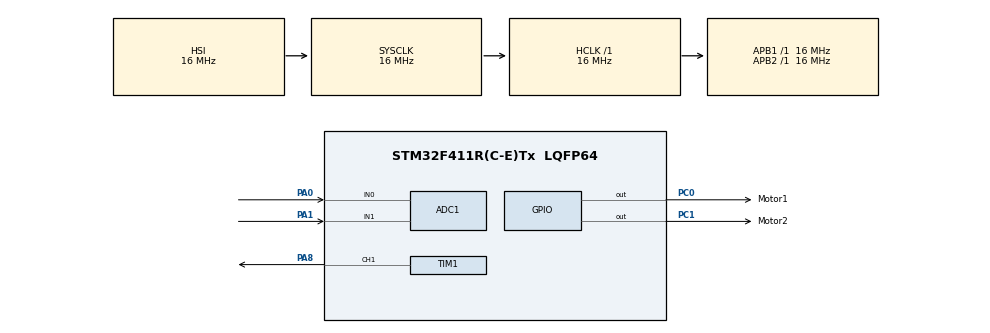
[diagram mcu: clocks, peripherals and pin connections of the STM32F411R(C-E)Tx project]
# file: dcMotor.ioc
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ADC1.Channel-0\#ChannelRegularConversion=ADC_CHANNEL_0
ADC1.Channel-1\#ChannelRegularConversion=ADC_CHANNEL_1
ADC1.ContinuousConvMode=ENABLE
ADC1.DMAContinuousRequests=ENABLE
ADC1.NbrOfConversion=2
ADC1.NbrOfConversionFlag=1
ADC1.Rank-0\#ChannelRegularConversion=1
ADC1.Rank-1\#ChannelRegularConversion=2
ADC1.SamplingTime-0\#ChannelRegularConversion=ADC_SAMPLETIME_480CYCLES
ADC1.SamplingTime-1\#ChannelRegularConversion=ADC_SAMPLETIME_480CYCLES
ADC1.master=1
Dma.ADC1.0.Direction=DMA_PERIPH_TO_MEMORY
Dma.ADC1.0.FIFOMode=DMA_FIFOMODE_DISABLE
Dma.ADC1.0.Instance=DMA2_Stream0
Dma.ADC1.0.MemDataAlignment=DMA_MDATAALIGN_HALFWORD
Dma.ADC1.0.MemInc=DMA_MINC_ENABLE
Dma.ADC1.0.Mode=DMA_CIRCULAR
Dma.ADC1.0.PeriphDataAlignment=DMA_PDATAALIGN_HALFWORD
Dma.ADC1.0.PeriphInc=DMA_PINC_DISABLE
Dma.ADC1.0.Priority=DMA_PRIORITY_LOW
Dma.Request0=ADC1
Mcu.Family=STM32F4
Mcu.Name=STM32F411R(C-E)Tx
Mcu.Package=LQFP64
NVIC.DMA2_Stream0_IRQn=true\:0\:0\:false\:false\:true\:false\:true\:true
NVIC.PriorityGroup=NVIC_PRIORITYGROUP_4
PA0-WKUP.Signal=ADCx_IN0
PA1.Signal=ADCx_IN1
PA8.Signal=S_TIM1_CH1
PC0.GPIO_Label=Motor1
PC0.Signal=GPIO_Output
PC1.GPIO_Label=Motor2
PC1.Signal=GPIO_Output
ProjectManager.HeapSize=0x200
ProjectManager.StackSize=0x400
ProjectManager.TargetToolchain=STM32CubeIDE
RCC.AHBFreq_Value=16000000
RCC.APB1Freq_Value=16000000
RCC.APB2Freq_Value=16000000
RCC.CortexFreq_Value=16000000
RCC.HSE_VALUE=25000000
RCC.HSI_VALUE=16000000
RCC.LSE_VALUE=32768
RCC.SYSCLKFreq_VALUE=16000000
RCC.VCOOutputFreq_Value=192000000
SH.ADCx_IN0.0=ADC1_IN0,IN0
SH.ADCx_IN1.0=ADC1_IN1,IN1
SH.S_TIM1_CH1.0=TIM1_CH1,PWM Generation1 CH1
TIM1.Channel-PWM\ Generation1\ CH1=TIM_CHANNEL_1
TIM1.Period=1000-1
TIM1.Prescaler=16-1
TIM1.Pulse-PWM\ Generation1\ CH1=500-1
VP_TIM1_VS_ClockSourceINT.Mode=Internal
board=custom

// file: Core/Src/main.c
/* USER CODE BEGIN Header */
/**
  ******************************************************************************
  * @file           : main.c
  * @brief          : Main program body
  ******************************************************************************
  * @attention
  *
  * Copyright (c) 2023 STMicroelectronics.
  * All rights reserved.
  *
  * This software is licensed under terms that can be found in the LICENSE file
  * in the root directory of this software component.
  * If no LICENSE file comes with this software, it is provided AS-IS.
  *
  ******************************************************************************
  */
/* USER CODE END Header */
#include "main.h"

ADC_HandleTypeDef hadc1;
DMA_HandleTypeDef hdma_adc1;

TIM_HandleTypeDef htim1;

void SystemClock_Config(void);
static void MX_GPIO_Init(void);
static void MX_DMA_Init(void);
static void MX_ADC1_Init(void);
static void MX_TIM1_Init(void);

/* USER CODE BEGIN 0 */
void setPwm(int value){
	htim1.Instance->CCR1 = value;
}

void setMotorStop(){
	HAL_GPIO_WritePin(Motor1_GPIO_Port, Motor1_Pin, 0);
	HAL_GPIO_WritePin(Motor2_GPIO_Port, Motor2_Pin, 0);//둘다 0�?�니까 모터는 정지�?태
	setPwm(0);
}

void setMotorStart(int dir, int pwm){
	if(dir){
		HAL_GPIO_WritePin(Motor1_GPIO_Port, Motor1_Pin, 1);
		HAL_GPIO_WritePin(Motor2_GPIO_Port, Motor2_Pin, 0);
	}
	else {
		HAL_GPIO_WritePin(Motor1_GPIO_Port, Motor1_Pin, 0);
		HAL_GPIO_WritePin(Motor2_GPIO_Port, Motor2_Pin, 1);
	}
	setPwm(pwm);
}

long map(long x, long in_min, long in_max, long out_min, long out_max) {
  return (x - in_min) * (out_max - out_min) / (in_max - in_min) + out_min;
}

/* USER CODE END 0 */

int main(void)
{

  /* MCU Configuration--------------------------------------------------------*/

  /* Reset of all peripherals, Initializes the Flash interface and the Systick. */
  HAL_Init();

  /* Configure the system clock */
  SystemClock_Config();

  /* Initialize all configured peripherals */
  MX_GPIO_Init();
  MX_DMA_Init();
  MX_ADC1_Init();
  MX_TIM1_Init();
  /* USER CODE BEGIN 2 */
uint16_t adcValue[2]; //ADC 결과 저장
HAL_ADC_Start_DMA(&hadc1, adcValue, 2);//ADC�? RESOURCE가 다 먹�?� WHILE문으로 가지를 못함
HAL_TIM_PWM_Start(&htim1, TIM_CHANNEL_1);//pwm장치가 시작됨
setMotorStop();
//�?�?�으로 dma 결과를 value�? 집어넣�?� 수 있게 �?�
//AD 변환기는 하나지만 많은 채널로 나눠쓸 수 있음
  /* USER CODE END 2 */

  /* Infinite loop */
  while (1)
  {

    /* USER CODE BEGIN 3 */
	  if(adcValue[0] < 1800){ //1800 up
		  setMotorStart(1, map(adcValue[0], 0, 1799, 999, 0));//속도를 붙여줘야함
	  }
	  else if(adcValue[0] > 2200){//2200 down
		  setMotorStart(0, map(adcValue[0], 2201, 4095, 0, 999));
	  }
	  else{
		  setMotorStop();
	  }// 1800~2200 motor stop
  }
  /* USER CODE END 3 */
}

void SystemClock_Config(void)
{
  RCC_OscInitTypeDef RCC_OscInitStruct = {0};
  RCC_ClkInitTypeDef RCC_ClkInitStruct = {0};

  /** Configure the main internal regulator output voltage
  */
  __HAL_RCC_PWR_CLK_ENABLE();
  __HAL_PWR_VOLTAGESCALING_CONFIG(PWR_REGULATOR_VOLTAGE_SCALE1);

  /** Initializes the RCC Oscillators according to the specified parameters
  * in the RCC_OscInitTypeDef structure.
  */
  RCC_OscInitStruct.OscillatorType = RCC_OSCILLATORTYPE_HSI;
  RCC_OscInitStruct.HSIState = RCC_HSI_ON;
  RCC_OscInitStruct.HSICalibrationValue = RCC_HSICALIBRATION_DEFAULT;
  RCC_OscInitStruct.PLL.PLLState = RCC_PLL_NONE;
  if (HAL_RCC_OscConfig(&RCC_OscInitStruct) != HAL_OK)
  {
    Error_Handler();
  }

  /** Initializes the CPU, AHB and APB buses clocks
  */
  RCC_ClkInitStruct.ClockType = RCC_CLOCKTYPE_HCLK|RCC_CLOCKTYPE_SYSCLK
                              |RCC_CLOCKTYPE_PCLK1|RCC_CLOCKTYPE_PCLK2;
  RCC_ClkInitStruct.SYSCLKSource = RCC_SYSCLKSOURCE_HSI;
  RCC_ClkInitStruct.AHBCLKDivider = RCC_SYSCLK_DIV1;
  RCC_ClkInitStruct.APB1CLKDivider = RCC_HCLK_DIV1;
  RCC_ClkInitStruct.APB2CLKDivider = RCC_HCLK_DIV1;

  if (HAL_RCC_ClockConfig(&RCC_ClkInitStruct, FLASH_LATENCY_0) != HAL_OK)
  {
    Error_Handler();
  }
}

static void MX_ADC1_Init(void)
{

  ADC_ChannelConfTypeDef sConfig = {0};

  /** Configure the global features of the ADC (Clock, Resolution, Data Alignment and number of conversion)
  */
  hadc1.Instance = ADC1;
  hadc1.Init.ClockPrescaler = ADC_CLOCK_SYNC_PCLK_DIV2;
  hadc1.Init.Resolution = ADC_RESOLUTION_12B;
  hadc1.Init.ScanConvMode = ENABLE;
  hadc1.Init.ContinuousConvMode = ENABLE;
  hadc1.Init.DiscontinuousConvMode = DISABLE;
  hadc1.Init.ExternalTrigConvEdge = ADC_EXTERNALTRIGCONVEDGE_NONE;
  hadc1.Init.ExternalTrigConv = ADC_SOFTWARE_START;
  hadc1.Init.DataAlign = ADC_DATAALIGN_RIGHT;
  hadc1.Init.NbrOfConversion = 2;
  hadc1.Init.DMAContinuousRequests = ENABLE;
  hadc1.Init.EOCSelection = ADC_EOC_SINGLE_CONV;
  if (HAL_ADC_Init(&hadc1) != HAL_OK)
  {
    Error_Handler();
  }

  /** Configure for the selected ADC regular channel its corresponding rank in the sequencer and its sample time.
  */
  sConfig.Channel = ADC_CHANNEL_0;
  sConfig.Rank = 1;
  sConfig.SamplingTime = ADC_SAMPLETIME_480CYCLES;
  if (HAL_ADC_ConfigChannel(&hadc1, &sConfig) != HAL_OK)
  {
    Error_Handler();
  }

  /** Configure for the selected ADC regular channel its corresponding rank in the sequencer and its sample time.
  */
  sConfig.Channel = ADC_CHANNEL_1;
  sConfig.Rank = 2;
  if (HAL_ADC_ConfigChannel(&hadc1, &sConfig) != HAL_OK)
  {
    Error_Handler();
  }

}

static void MX_TIM1_Init(void)
{

  TIM_ClockConfigTypeDef sClockSourceConfig = {0};
  TIM_MasterConfigTypeDef sMasterConfig = {0};
  TIM_OC_InitTypeDef sConfigOC = {0};
  TIM_BreakDeadTimeConfigTypeDef sBreakDeadTimeConfig = {0};

  htim1.Instance = TIM1;
  htim1.Init.Prescaler = 16-1;
  htim1.Init.CounterMode = TIM_COUNTERMODE_UP;
  htim1.Init.Period = 1000-1;
  htim1.Init.ClockDivision = TIM_CLOCKDIVISION_DIV1;
  htim1.Init.RepetitionCounter = 0;
  htim1.Init.AutoReloadPreload = TIM_AUTORELOAD_PRELOAD_DISABLE;
  if (HAL_TIM_Base_Init(&htim1) != HAL_OK)
  {
    Error_Handler();
  }
  sClockSourceConfig.ClockSource = TIM_CLOCKSOURCE_INTERNAL;
  if (HAL_TIM_ConfigClockSource(&htim1, &sClockSourceConfig) != HAL_OK)
  {
    Error_Handler();
  }
  if (HAL_TIM_PWM_Init(&htim1) != HAL_OK)
  {
    Error_Handler();
  }
  sMasterConfig.MasterOutputTrigger = TIM_TRGO_RESET;
  sMasterConfig.MasterSlaveMode = TIM_MASTERSLAVEMODE_DISABLE;
  if (HAL_TIMEx_MasterConfigSynchronization(&htim1, &sMasterConfig) != HAL_OK)
  {
    Error_Handler();
  }
  sConfigOC.OCMode = TIM_OCMODE_PWM1;
  sConfigOC.Pulse = 500-1;
  sConfigOC.OCPolarity = TIM_OCPOLARITY_HIGH;
  sConfigOC.OCNPolarity = TIM_OCNPOLARITY_HIGH;
  sConfigOC.OCFastMode = TIM_OCFAST_DISABLE;
  sConfigOC.OCIdleState = TIM_OCIDLESTATE_RESET;
  sConfigOC.OCNIdleState = TIM_OCNIDLESTATE_RESET;
  if (HAL_TIM_PWM_ConfigChannel(&htim1, &sConfigOC, TIM_CHANNEL_1) != HAL_OK)
  {
    Error_Handler();
  }
  sBreakDeadTimeConfig.OffStateRunMode = TIM_OSSR_DISABLE;
  sBreakDeadTimeConfig.OffStateIDLEMode = TIM_OSSI_DISABLE;
  sBreakDeadTimeConfig.LockLevel = TIM_LOCKLEVEL_OFF;
  sBreakDeadTimeConfig.DeadTime = 0;
  sBreakDeadTimeConfig.BreakState = TIM_BREAK_DISABLE;
  sBreakDeadTimeConfig.BreakPolarity = TIM_BREAKPOLARITY_HIGH;
  sBreakDeadTimeConfig.AutomaticOutput = TIM_AUTOMATICOUTPUT_DISABLE;
  if (HAL_TIMEx_ConfigBreakDeadTime(&htim1, &sBreakDeadTimeConfig) != HAL_OK)
  {
    Error_Handler();
  }
  HAL_TIM_MspPostInit(&htim1);

}

static void MX_DMA_Init(void)
{

  /* DMA controller clock enable */
  __HAL_RCC_DMA2_CLK_ENABLE();

  /* DMA interrupt init */
  /* DMA2_Stream0_IRQn interrupt configuration */
  HAL_NVIC_SetPriority(DMA2_Stream0_IRQn, 0, 0);
  HAL_NVIC_EnableIRQ(DMA2_Stream0_IRQn);

}

static void MX_GPIO_Init(void)
{
  GPIO_InitTypeDef GPIO_InitStruct = {0};

  /* GPIO Ports Clock Enable */
  __HAL_RCC_GPIOC_CLK_ENABLE();
  __HAL_RCC_GPIOA_CLK_ENABLE();

  /*Configure GPIO pin Output Level */
  HAL_GPIO_WritePin(GPIOC, Motor1_Pin|Motor2_Pin, GPIO_PIN_RESET);

  /*Configure GPIO pins : Motor1_Pin Motor2_Pin */
  GPIO_InitStruct.Pin = Motor1_Pin|Motor2_Pin;
  GPIO_InitStruct.Mode = GPIO_MODE_OUTPUT_PP;
  GPIO_InitStruct.Pull = GPIO_NOPULL;
  GPIO_InitStruct.Speed = GPIO_SPEED_FREQ_LOW;
  HAL_GPIO_Init(GPIOC, &GPIO_InitStruct);

}

void Error_Handler(void)
{
  __disable_irq();
  while (1)
  {
  }
}
